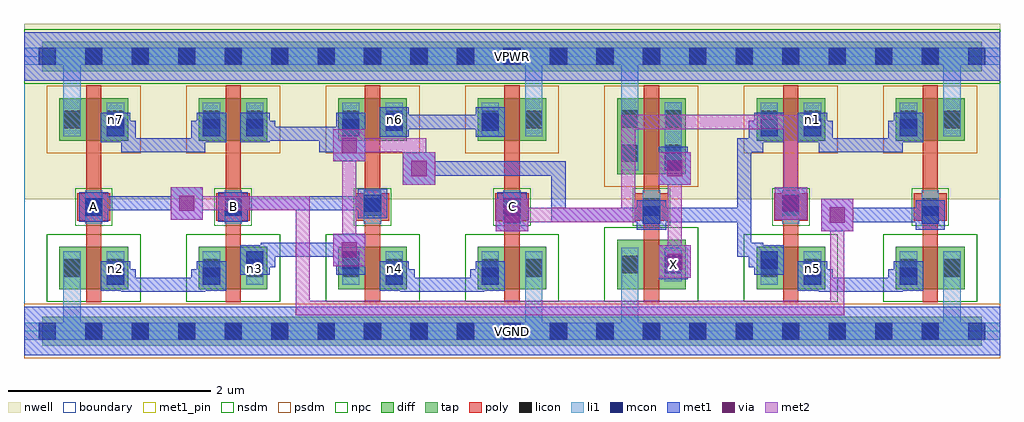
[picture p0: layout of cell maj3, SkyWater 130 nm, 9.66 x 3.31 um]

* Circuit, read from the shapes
.subckt maj3 A B C VGND VPWR X n1 n2 n3 n4 n5 n6 n7
XM1 n2 A VGND VGND sky130_fd_pr__nfet_01v8 w=0.42 l=0.15
XM2 n3 B n2 VGND sky130_fd_pr__nfet_01v8 w=0.42 l=0.15
XM3 n4 B n3 VGND sky130_fd_pr__nfet_01v8 w=0.42 l=0.15
XM4 VGND C n4 VGND sky130_fd_pr__nfet_01v8 w=0.42 l=0.15
XM5 X n3 VGND VGND sky130_fd_pr__nfet_01v8 w=0.49 l=0.15
XM6 n5 C n3 VGND sky130_fd_pr__nfet_01v8 w=0.42 l=0.15
XM7 VGND A n5 VGND sky130_fd_pr__nfet_01v8 w=0.42 l=0.15
XM8 n7 A VPWR VPWR sky130_fd_pr__pfet_01v8 w=0.42 l=0.15
XM9 n3 B n7 VPWR sky130_fd_pr__pfet_01v8 w=0.42 l=0.15
XM10 n6 B n3 VPWR sky130_fd_pr__pfet_01v8 w=0.42 l=0.15
XM11 VPWR C n6 VPWR sky130_fd_pr__pfet_01v8 w=0.42 l=0.15
XM12 X n3 VPWR VPWR sky130_fd_pr__pfet_01v8 w=0.75 l=0.15
XM13 n1 C n3 VPWR sky130_fd_pr__pfet_01v8 w=0.42 l=0.15
XM14 VPWR A n1 VPWR sky130_fd_pr__pfet_01v8 w=0.42 l=0.15
.ends

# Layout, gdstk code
import gdstk
lib = gdstk.Library(unit=1e-6, precision=1e-09)
def R(c, l, rs):  # rectangles x0, y0, x1, y1
    for r in rs: c.add(gdstk.rectangle(r[:2], r[2:], *l))
def A(c, l, x, y, w, h, nx, ny, dx, dy):  # array of equal rectangles
    R(c, l, [(x+i*dx, y+j*dy, x+i*dx+w, y+j*dy+h) for i in range(nx) for j in range(ny)])
nwell = (64, 20)
diff = (65, 20)
tap = (65, 44)
poly = (66, 20)
licon = (66, 44)
li1 = (67, 20)
mcon = (67, 44)
met1_pin = (68, 16)
met1 = (68, 20)
via = (68, 44)
met2 = (69, 20)
nsdm = (93, 44)
psdm = (94, 20)
npc = (95, 20)
boundary = (235, 4)

maj3 = lib.new_cell('maj3')
R(maj3, nwell, [(0,1.305,9.66,3.045)])
A(maj3, diff, 0.35, 0.415, 0.68, 0.42, 4, 2, 1.38, 1.47)
R(maj3, diff, [(5.87,0.415,6.55,0.905), (7.25,0.415,7.93,0.835), (8.63,0.415,9.31,0.835), (5.87,1.555,6.55,2.305), (7.25,1.885,7.93,2.305), (8.63,1.885,9.31,2.305)])
R(maj3, tap, [(0.18,-0.145,9.48,0.145), (0.18,2.575,9.48,2.865)])
A(maj3, poly, 0.615, 0.285, 0.15, 2.15, 7, 1, 1.38, 0)
A(maj3, poly, 0.525, 1.095, 0.33, 0.27, 7, 1, 1.38, 0)
A(maj3, licon, 0.605, -0.085, 0.17, 0.17, 19, 2, 0.46, 2.72)
A(maj3, licon, 0.605, 1.145, 0.17, 0.17, 7, 1, 1.38, 0)
R(maj3, licon, [(0.39,0.54,0.56,0.71), (0.82,0.54,0.99,0.71), (1.77,0.54,1.94,0.71), (2.2,0.54,2.37,0.71), (3.15,0.54,3.32,0.71), (3.58,0.54,3.75,0.71), (4.53,0.54,4.7,0.71), (4.96,0.54,5.13,0.71), (7.29,0.54,7.46,0.71), (7.72,0.54,7.89,0.71), (8.67,0.54,8.84,0.71), (9.1,0.54,9.27,0.71), (5.91,0.575,6.08,0.745), (6.34,0.575,6.51,0.745), (5.91,1.675,6.08,1.845), (6.34,1.675,6.51,1.845), (0.39,2.01,0.56,2.18), (0.82,2.01,0.99,2.18), (1.77,2.01,1.94,2.18), (2.2,2.01,2.37,2.18), (3.15,2.01,3.32,2.18), (3.58,2.01,3.75,2.18), (4.53,2.01,4.7,2.18), (4.96,2.01,5.13,2.18), (7.29,2.01,7.46,2.18), (7.72,2.01,7.89,2.18), (8.67,2.01,8.84,2.18), (9.1,2.01,9.27,2.18), (5.91,2.015,6.08,2.185), (6.34,2.015,6.51,2.185)])
A(maj3, li1, 0.605, 1.065, 0.17, 0.33, 7, 1, 1.38, 0)
R(maj3, li1, [(0,-0.085,9.66,0.085), (0.39,-0.085,0.56,0.79), (4.96,-0.085,5.13,0.79), (5.91,-0.085,6.08,0.825), (9.1,-0.085,9.27,0.79), (0.39,0.46,0.56,0.79), (0.82,0.46,0.99,0.79), (1.77,0.46,1.94,0.79), (2.2,0.46,2.37,0.79), (3.15,0.46,3.32,0.79), (3.58,0.46,3.75,0.79), (4.53,0.46,4.7,0.79), (4.96,0.46,5.13,0.79), (7.29,0.46,7.46,0.79), (7.72,0.46,7.89,0.79), (8.67,0.46,8.84,0.79), (9.1,0.46,9.27,0.79), (5.91,0.495,6.08,0.825), (6.34,0.495,6.51,0.825), (5.91,1.595,6.08,2.265), (5.91,1.595,6.08,2.805), (6.34,1.595,6.51,2.265), (0.39,1.93,0.56,2.26), (0.39,1.93,0.56,2.805), (0.82,1.93,0.99,2.26), (1.77,1.93,1.94,2.26), (2.2,1.93,2.37,2.26), (3.15,1.93,3.32,2.26), (3.58,1.93,3.75,2.26), (4.53,1.93,4.7,2.26), (4.96,1.93,5.13,2.26), (4.96,1.93,5.13,2.805), (7.29,1.93,7.46,2.26), (7.72,1.93,7.89,2.26), (8.67,1.93,8.84,2.26), (9.1,1.93,9.27,2.26), (9.1,1.93,9.27,2.805), (0,2.635,9.66,2.805)])
A(maj3, mcon, 0.145, -0.085, 0.17, 0.17, 21, 2, 0.46, 2.72)
R(maj3, mcon, [(0.82,0.46,0.99,0.63), (1.77,0.46,1.94,0.63), (3.58,0.46,3.75,0.63), (4.53,0.46,4.7,0.63), (7.72,0.46,7.89,0.63), (8.67,0.46,8.84,0.63), (6.34,0.575,6.51,0.745), (2.2,0.62,2.37,0.79), (3.15,0.62,3.32,0.79), (7.29,0.62,7.46,0.79), (6.125,1.065,6.295,1.235), (8.885,1.065,9.055,1.235), (0.605,1.145,0.775,1.315), (1.985,1.145,2.155,1.315), (4.745,1.145,4.915,1.315), (3.365,1.18,3.535,1.35), (7.505,1.18,7.675,1.35), (6.34,1.595,6.51,1.765), (0.82,1.93,0.99,2.1), (1.77,1.93,1.94,2.1), (2.2,1.93,2.37,2.1), (3.15,1.93,3.32,2.1), (7.29,1.93,7.46,2.1), (7.72,1.93,7.89,2.1), (8.67,1.93,8.84,2.1), (3.58,1.985,3.75,2.155), (4.53,1.985,4.7,2.155)])
R(maj3, met1_pin, [(0,-0.24,9.66,0.24), (6.28,0.515,6.57,0.805), (0.545,1.085,0.835,1.375), (1.925,1.085,2.215,1.375), (4.685,1.085,4.975,1.375), (0,2.48,9.66,2.96)])
A(maj3, met1, 7.175, 1.77, 0.14, 0.315, 3, 1, 0.69, 0)
R(maj3, met1, [(0,-0.24,9.66,0.24), (0.965,0.39,1.795,0.53), (0.965,0.39,1.105,0.615), (1.655,0.39,1.795,0.615), (3.725,0.39,4.555,0.53), (3.725,0.39,3.865,0.615), (4.415,0.39,4.555,0.615), (7.865,0.39,8.695,0.53), (7.865,0.39,8.005,0.615), (8.555,0.39,8.695,0.615), (0.76,0.4,1.05,0.69), (1.71,0.4,2,0.69), (3.52,0.4,3.81,0.69), (4.47,0.4,4.76,0.69), (7.66,0.4,7.95,0.69), (8.61,0.4,8.9,0.69), (0.835,0.475,1.105,0.615), (1.655,0.475,1.925,0.615), (3.595,0.475,3.865,0.615), (4.415,0.475,4.685,0.615), (7.735,0.475,8.005,0.615), (8.555,0.475,8.825,0.615), (6.28,0.515,6.57,0.805), (6.28,0.53,6.6,0.85), (2.14,0.56,2.43,0.85), (3.09,0.56,3.38,0.85), (7.23,0.56,7.52,0.85), (6.37,0.62,6.51,0.76), (2.215,0.635,2.485,0.775), (2.345,0.635,2.485,0.875), (3.15,0.635,3.305,0.775), (3.15,0.635,3.29,0.875), (7.175,0.635,7.445,0.775), (7.175,0.635,7.315,0.875), (3.06,0.645,3.38,0.965), (2.345,0.735,3.29,0.875), (7.06,0.735,7.315,0.875), (7.06,0.735,7.2,1.22), (4.67,0.99,4.99,1.31), (7.89,0.99,8.21,1.31), (6.065,1.005,6.355,1.295), (8.825,1.005,9.115,1.295), (4.76,1.08,4.9,1.335), (5.22,1.08,5.36,1.68), (5.22,1.08,6.28,1.22), (6.14,1.08,7.2,1.22), (7.06,1.08,7.2,1.91), (7.98,1.08,9.04,1.22), (0.545,1.085,0.835,1.375), (1.925,1.085,2.215,1.375), (4.685,1.085,4.975,1.375), (1.45,1.105,1.77,1.425), (7.43,1.105,7.75,1.425), (3.305,1.12,3.595,1.41), (7.445,1.12,7.735,1.41), (0.62,1.195,0.76,1.335), (0.62,1.195,1.68,1.335), (2,1.195,3.52,1.335), (2,1.195,2.14,1.335), (4.76,1.195,4.9,1.335), (3.75,1.45,4.07,1.77), (6.28,1.45,6.6,1.77), (6.28,1.535,6.57,1.825), (3.84,1.54,5.36,1.68), (6.37,1.54,6.51,1.75), (6.355,1.61,6.51,1.75), (3.06,1.68,3.38,2), (0.965,1.77,1.105,2.085), (0.965,1.77,1.795,1.91), (1.655,1.77,1.795,2.085), (2.92,1.77,3.06,2.025), (2.92,1.77,3.29,1.91), (3.06,1.77,3.15,2.025), (3.15,1.77,3.29,2.085), (7.06,1.77,7.315,1.91), (7.865,1.77,8.695,1.91), (0.76,1.87,1.05,2.16), (1.71,1.87,2,2.16), (2.14,1.87,2.43,2.16), (3.06,1.87,3.09,2.025), (3.09,1.87,3.38,2.16), (7.23,1.87,7.52,2.16), (7.66,1.87,7.95,2.16), (8.61,1.87,8.9,2.16), (2.345,1.885,2.485,2.085), (2.345,1.885,3.06,2.025), (3.06,1.885,3.09,2.025), (3.06,1.885,3.15,2.025), (3.52,1.925,3.81,2.215), (4.47,1.925,4.76,2.215), (0.835,1.945,1.105,2.085), (1.655,1.945,1.925,2.085), (2.215,1.945,2.485,2.085), (3.06,1.945,3.15,2.025), (3.15,1.945,3.305,2.085), (7.175,1.945,7.445,2.085), (7.735,1.945,8.005,2.085), (8.555,1.945,8.825,2.085), (3.595,2,3.865,2.14), (3.725,2,4.555,2.14), (4.415,2,4.685,2.14), (0,2.48,9.66,2.96)])
R(maj3, via, [(6.365,0.615,6.515,0.765), (3.145,0.73,3.295,0.88), (4.755,1.075,4.905,1.225), (7.975,1.075,8.125,1.225), (1.535,1.19,1.685,1.34), (7.515,1.19,7.665,1.34), (3.835,1.535,3.985,1.685), (6.365,1.535,6.515,1.685), (3.145,1.765,3.295,1.915)])
R(maj3, met2, [(2.69,0.16,2.83,1.335), (2.69,0.16,8.12,0.3), (7.98,0.16,8.12,1.22), (6.28,0.53,6.6,0.85), (6.37,0.62,6.51,1.68), (3.06,0.645,3.38,0.965), (3.15,0.735,3.29,1.91), (4.67,0.99,4.99,1.31), (7.89,0.99,8.21,1.31), (4.76,1.08,6.05,1.22), (5.91,1.08,6.05,2.14), (1.45,1.105,1.77,1.425), (7.43,1.105,7.75,1.425), (1.54,1.195,2.83,1.335), (7.52,1.195,7.66,2.14), (3.75,1.45,4.07,1.77), (6.28,1.45,6.6,1.77), (3.84,1.54,3.98,1.91), (3.06,1.68,3.38,2), (3.15,1.77,3.98,1.91), (5.91,2,7.66,2.14)])
A(maj3, nsdm, 0.225, 0.29, 0.93, 0.67, 4, 1, 1.38, 0)
R(maj3, nsdm, [(5.745,0.29,6.675,1.03), (7.125,0.29,8.055,0.96), (8.505,0.29,9.435,0.96), (0,2.45,9.66,2.99)])
A(maj3, psdm, 0.225, 1.76, 0.93, 0.67, 4, 1, 1.38, 0)
R(maj3, psdm, [(0,-0.27,9.66,0.27), (5.745,1.43,6.675,2.43), (7.125,1.76,8.055,2.43), (8.505,1.76,9.435,2.43)])
A(maj3, npc, 0.505, 1.045, 0.37, 0.37, 7, 1, 1.38, 0)
R(maj3, boundary, [(0,0,9.66,2.72)])
maj3.add(gdstk.Label('n2', (0.905,0.625), layer=67, texttype=5))
maj3.add(gdstk.Label('n7', (0.905,2.095), layer=67, texttype=5))
maj3.add(gdstk.Label('n3', (2.285,0.625), layer=67, texttype=5))
maj3.add(gdstk.Label('n4', (3.665,0.625), layer=67, texttype=5))
maj3.add(gdstk.Label('n6', (3.665,2.095), layer=67, texttype=5))
maj3.add(gdstk.Label('n5', (7.805,0.625), layer=67, texttype=5))
maj3.add(gdstk.Label('n1', (7.805,2.095), layer=67, texttype=5))
maj3.add(gdstk.Label('A', (0.69,1.23), layer=68, texttype=5))
maj3.add(gdstk.Label('B', (2.07,1.23), layer=68, texttype=5))
maj3.add(gdstk.Label('C', (4.83,1.23), layer=68, texttype=5))
maj3.add(gdstk.Label('X', (6.425,0.66), layer=68, texttype=5))
maj3.add(gdstk.Label('VPWR', (4.83,2.72), layer=68, texttype=5))
maj3.add(gdstk.Label('VGND', (4.83,0), layer=68, texttype=5))
maj3.add(gdstk.Label('A', (0.69,1.23), layer=68, texttype=16))
maj3.add(gdstk.Label('B', (2.07,1.23), layer=68, texttype=16))
maj3.add(gdstk.Label('C', (4.83,1.23), layer=68, texttype=16))
maj3.add(gdstk.Label('X', (6.425,0.66), layer=68, texttype=16))
maj3.add(gdstk.Label('VPWR', (4.83,2.72), layer=68, texttype=16))
maj3.add(gdstk.Label('VGND', (4.83,0), layer=68, texttype=16))

lib.write_gds('maj3.gds')
